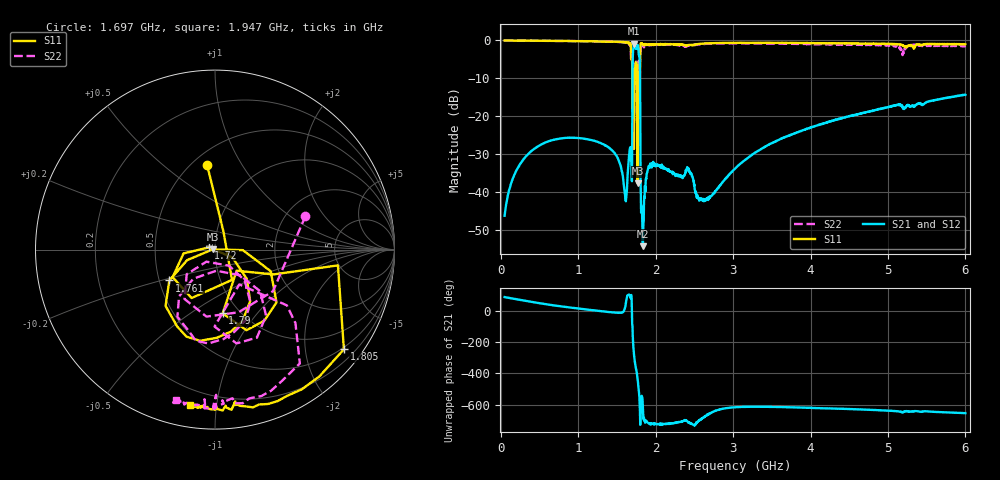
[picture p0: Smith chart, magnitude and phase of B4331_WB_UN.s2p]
! Matrix data file written by TouchstoneData, EPCOS AG
! FILENAME: "B4331_01_WB.snp"
! COMMENT: "(TS/B4331_01_WB.s2p) Epcos AG 11/12/2013 3:4"
! INFO: nport=2, nfreq=1601
! DATE: "Wed Dec 18 10:37:42 2013"
! USER: "Dan Wang"
! port | pin | signal
!  1  |  1  |  input
!  2  |  4  |  output
# MHZ S RI R 50
! freq  reS11 imS11  reS21 imS21  reS12 imS12  reS22 imS22
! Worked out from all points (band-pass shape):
!   1601 points, 50 MHz to 6 GHz, reference 50 ohm
!   highest |S21| = -0.87 dB at 1.723 GHz (marker M1); lowest = -54.4 dB at 1.835 GHz (marker M2)
!   |S21| within 3 dB of the highest: 1.706 GHz to 1.784 GHz (77.82 MHz wide, 4.46 % of centre)
!   lowest |S11| = -37.7 dB at 1.768 GHz (marker M3), VSWR 1.03, Z = 48.7 + j0.101 ohm
!   |S11| at or under -10 dB: 1.698 GHz to 1.73 GHz (31.46 MHz wide, 1.84 % of centre); 1.76 GHz to 1.775 GHz (14.98 MHz wide, 0.848 % of centre); 1.790983 GHz to 1.797256 GHz (6.273 MHz wide, 0.35 % of centre)
!   |S22| runs from -21.7 to 0.0 dB; largest |S21 - S12| = 0
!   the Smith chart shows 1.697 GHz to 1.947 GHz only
!   S11 on the Smith chart (normalised r, x): 1.697 GHz: 0.59, +0.72; 1.72 GHz: 0.93, +0.02; 1.761 GHz: 0.57, -0.21; 1.79 GHz: 0.84, -0.68; 1.805 GHz: 0.45, -2.86; 1.947 GHz: 0.11, -0.85
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50  0.9955 -0.0761  0.000365 0.0048  0.000365 0.0048  0.9953 -0.0846
373.5312  0.8443 -0.5218  0.0178 0.0276  0.0178 0.0276  0.8174 -0.5661
1042.906  0.1861 -0.9574  0.0499 0.00899  0.0499 0.00899  0.0856 -0.9752
1459.406  -0.2737 -0.9206  0.0325 -0.00722  0.0325 -0.00722  -0.3934 -0.8742
1608.156  -0.5591 -0.7709  0.00767 0.00305  0.00767 0.00305  -0.6699 -0.6469
1656.5  -0.7749 -0.5304  -0.00478 0.0295  -0.00478 0.0295  -0.8412 -0.2559
1697.406  -0.0441 0.472  0.00247 -0.0373  0.00247 -0.0373  0.5041 0.1869
1719.719  -0.0347 0.0121  0.0752 0.8875  0.0752 0.8875  -0.0481 -0.0672
1723.438  0.0967 -0.0438  0.3615 0.8292  0.3615 0.8292  0.0784 -0.0899
1760.625  -0.2543 -0.172  0.5519 -0.6647  0.5519 -0.6647  -0.1998 -0.26
1768.062  -0.0129 0.00103  0.1448 -0.8579  0.1448 -0.8579  0.00766 -0.1175
1790.375  0.043 -0.3552  -0.6243 0.1117  -0.6243 0.1117  -0.00236 -0.4286
1805.25  0.7182 -0.5554  0.00636 0.0142  0.00636 0.0142  0.4728 -0.6341
1835  0.1709 -0.8734  -0.000716 0.00176  -0.000716 0.00176  0.044 -0.8512
1946.562  -0.1368 -0.8685  0.023 -0.0016  0.023 -0.0016  -0.2165 -0.8401
2035.812  -0.2319 -0.8621  0.0222 -0.00149  0.0222 -0.00149  -0.3297 -0.8119
2426.281  -0.4067 -0.7657  0.0201 0.0026  0.0201 0.0026  -0.4858 -0.7021
2623.375  -0.4837 -0.7683  0.0058 0.0047  0.0058 0.0047  -0.5801 -0.6849
3025  -0.6334 -0.6777  -0.00467 0.0196  -0.00467 0.0196  -0.7166 -0.5658
4017.906  -0.8142 -0.4303  -0.0111 0.0707  -0.0111 0.0707  -0.8659 -0.22
5010.812  -0.877 -0.1827  0.0202 0.1295  0.0202 0.1295  -0.8363 0.1588
6000  -0.8875 0.0257  0.0776 0.1739  0.0776 0.1739  -0.712 0.4585
